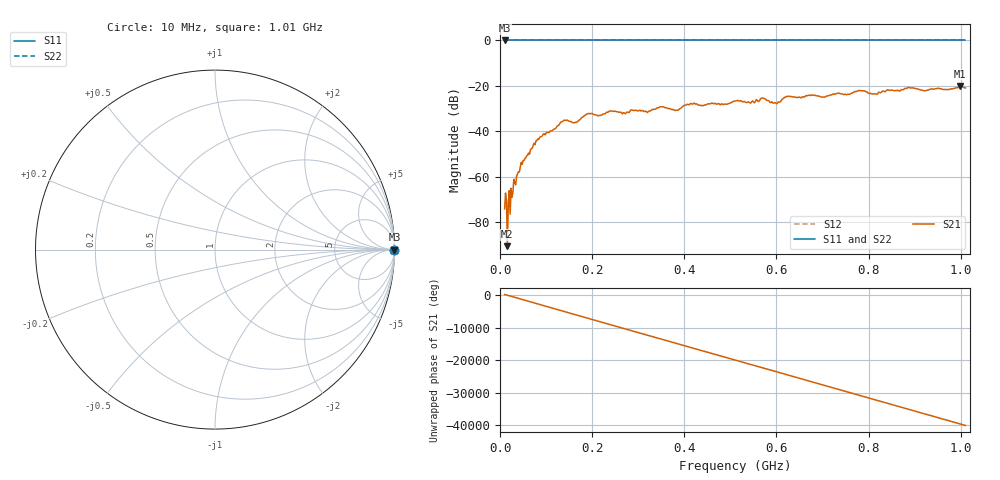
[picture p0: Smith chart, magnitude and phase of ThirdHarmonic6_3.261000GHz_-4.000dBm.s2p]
! 8/17/2025 10:03:42 AM
! C:\ANRITSUVNA\TEMP\TEMP.S2P
! CHANNEL.1
! TR.MEASUREMENT
! RAW.DATA
! RF.CORRECTION.OFF
! AVERAGING.OFF
! IF.BANDWIDTH: 5KHZ
! SWEEPTYPE:  FREQ.SWEEP(Linear)
! Reference Plane Port Info
! PORT:  PORT1  PORT2
! DISTANCE:  0  m  0  m
! TIME:  0  s  0  s
! PHASE.OFFSET:  0  deg.  0  deg.
! LOSS:  0  dB  0  dB
! REF.LOSS:  0  dB  0  dB
! REF.FREQ:  0  Hz  0  Hz
! Power Info
! POWER:  -20  dBm  -20  dBm
! EFF.POWER:  -20  dBm  -20  dBm
! SOURCE.ATTEN:  0  dB  0  dB
! TEST.ATTEN:  0  dB  0  dB
# GHZ S RI R 50.0
! FREQ.GHZ  S11RE  S11IM  S21RE  S21IM  S12RE  S12IM  S22RE  S22IM
!; PortSelection: Port_12
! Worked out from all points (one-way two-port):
!   501 points, 10 MHz to 1.01 GHz, reference 50 ohm
!   highest |S21| = -20.06 dB at 998 MHz (marker M1); lowest = -90.5 dB at 16 MHz (marker M2)
!   lowest |S11| = 0.0 dB at 10 MHz (marker M3)
!   |S11| at or under -10 dB: nowhere
!   |S22| runs from 0.0 to 0.0 dB; largest |S21 - S12| = 1.1
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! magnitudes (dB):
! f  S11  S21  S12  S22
! 10 MHz  0.0  -74.1  0.0  0.0
! 12 MHz  0.0  -67.2  0.0  0.0
! 16 MHz  0.0  -90.5  0.0  0.0
! 18 MHz  0.0  -72.0  0.0  0.0
! 20 MHz  0.0  -66.1  0.0  0.0
! 28 MHz  0.0  -66.8  0.0  0.0
! 48 MHz  0.0  -54.5  0.0  0.0
! 82 MHz  0.0  -43.3  0.0  0.0
! 136 MHz  0.0  -35.6  0.0  0.0
! 164 MHz  0.0  -36.1  0.0  0.0
! 178 MHz  0.0  -33.8  0.0  0.0
! 344 MHz  0.0  -29.6  0.0  0.0
! 384 MHz  0.0  -30.6  0.0  0.0
! 418 MHz  0.0  -28.0  0.0  0.0
! 510 MHz  0.0  -26.7  0.0  0.0
! 570 MHz  0.0  -25.3  0.0  0.0
! 598 MHz  0.0  -27.4  0.0  0.0
! 622 MHz  0.0  -24.7  0.0  0.0
! 678 MHz  0.0  -24.1  0.0  0.0
! 844 MHz  0.0  -21.9  0.0  0.0
! 998 MHz  0.0  -20.1  0.0  0.0
! 1.01 GHz  0.0  -20.9  0.0  0.0
